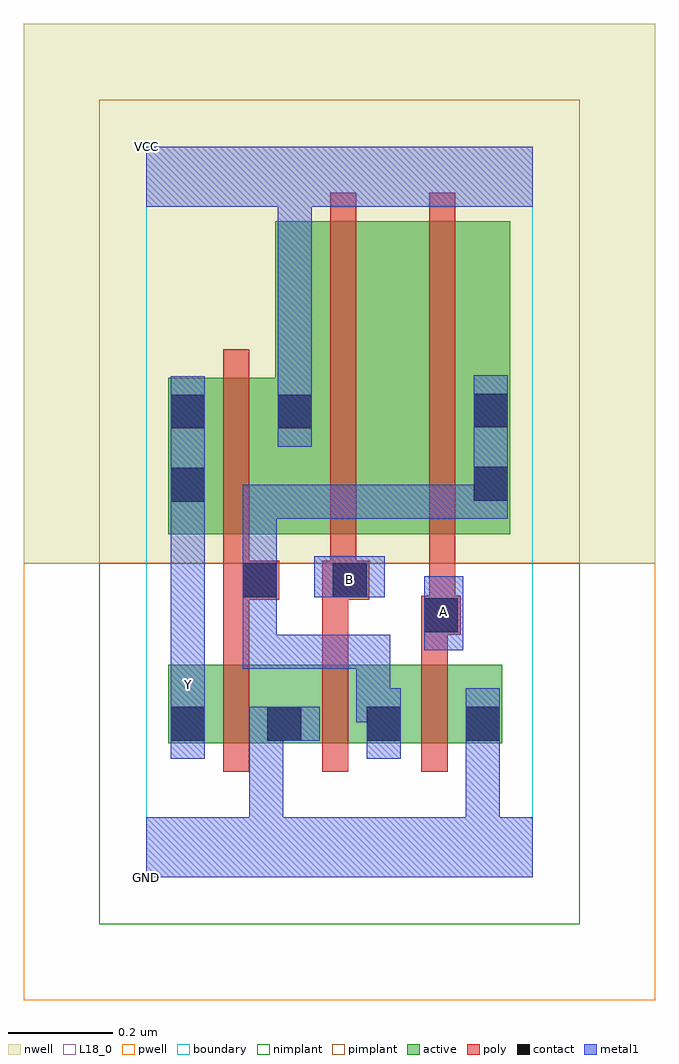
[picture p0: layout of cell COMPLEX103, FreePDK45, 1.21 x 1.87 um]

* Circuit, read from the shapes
.subckt COMPLEX103 A B GND VCC Y
M1 GND n1 Y VSUBS nfet w=0.15u l=0.05u
M2 n1 B GND VSUBS nfet w=0.15u l=0.05u
M3 GND A n1 VSUBS nfet w=0.15u l=0.05u
M4 VCC n1 Y n2 pfet w=0.3u l=0.05u
M5 n3 B VCC n2 pfet w=0.6u l=0.05u
M6 n1 A n3 n2 pfet w=0.6u l=0.05u
.ends

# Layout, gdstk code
import gdstk
lib = gdstk.Library(unit=1e-6, precision=1e-09)
def R(c, l, rs):  # rectangles x0, y0, x1, y1
    for r in rs: c.add(gdstk.rectangle(r[:2], r[2:], *l))
def A(c, l, x, y, w, h, nx, ny, dx, dy):  # array of equal rectangles
    R(c, l, [(x+i*dx, y+j*dy, x+i*dx+w, y+j*dy+h) for i in range(nx) for j in range(ny)])
active = (1, 0)
pwell = (2, 0)
nwell = (3, 0)
nimplant = (4, 0)
pimplant = (5, 0)
poly = (9, 0)
contact = (10, 0)
metal1 = (11, 0)
L18_0 = (18, 0)
boundary = (235, 0)

complex103 = lib.new_cell('COMPLEX103')
R(complex103, active, [(0.042,0.257,0.117,0.407), (0.042,0.257,0.302,0.407), (0.227,0.257,0.492,0.407), (0.227,0.257,0.302,0.397), (0.417,0.257,0.492,0.407), (0.417,0.257,0.682,0.407), (0.607,0.257,0.682,0.407), (0.042,0.657,0.322,0.957), (0.042,0.657,0.117,0.957), (0.247,0.657,0.472,1.257), (0.472,0.657,0.697,1.257), (0.622,0.657,0.697,1.2), (0.247,0.75,0.322,1.145)])
R(complex103, pwell, [(-0.235,-0.235,0.975,0.602)])
R(complex103, nwell, [(-0.235,0.602,0.975,1.635)])
R(complex103, nimplant, [(-0.09,-0.09,0.83,0.602)])
R(complex103, pimplant, [(-0.09,0.602,0.83,1.49)])
A(complex103, poly, 0.147, 0.202, 0.05, 0.26, 3, 1, 0.19, 0)
R(complex103, poly, [(0.147,0.412,0.197,0.582), (0.337,0.412,0.387,0.582), (0.527,0.412,0.577,0.515), (0.527,0.465,0.602,0.54), (0.542,0.49,0.592,0.652), (0.147,0.532,0.255,0.607), (0.337,0.532,0.427,0.607), (0.147,0.557,0.197,0.652), (0.352,0.557,0.402,0.652), (0.147,0.602,0.197,1.012), (0.352,0.602,0.402,1.312), (0.542,0.602,0.592,1.312)])
A(complex103, contact, 0.232, 0.262, 0.065, 0.065, 3, 1, 0.19, 0)
R(complex103, contact, [(0.047,0.262,0.112,0.327), (0.532,0.47,0.597,0.535), (0.185,0.537,0.25,0.602), (0.357,0.537,0.422,0.602), (0.047,0.72,0.112,0.785), (0.627,0.722,0.692,0.787), (0.047,0.86,0.112,0.925), (0.252,0.86,0.317,0.925), (0.627,0.862,0.692,0.927)])
R(complex103, metal1, [(0,0,0.74,0.115), (0.197,0.05,0.262,0.115), (0.197,0.05,0.262,0.115), (0.197,0.05,0.262,0.327), (0.612,0.05,0.677,0.115), (0.612,0.05,0.677,0.115), (0.612,0.05,0.677,0.292), (0.047,0.227,0.112,0.362), (0.422,0.227,0.487,0.362), (0.612,0.227,0.677,0.292), (0.612,0.227,0.677,0.292), (0.612,0.227,0.677,0.362), (0.197,0.262,0.262,0.327), (0.197,0.262,0.262,0.327), (0.197,0.262,0.332,0.327), (0.047,0.297,0.112,0.367), (0.402,0.297,0.487,0.362), (0.402,0.297,0.467,0.465), (0.047,0.302,0.112,0.437), (0.047,0.372,0.112,0.75), (0.185,0.4,0.25,0.465), (0.185,0.4,0.467,0.465), (0.185,0.4,0.25,0.637), (0.532,0.435,0.607,0.577), (0.185,0.502,0.25,0.637), (0.322,0.537,0.457,0.615), (0.185,0.572,0.25,0.637), (0.185,0.572,0.25,0.637), (0.185,0.572,0.25,0.752), (0.047,0.685,0.112,0.96), (0.185,0.687,0.25,0.752), (0.185,0.687,0.387,0.752), (0.322,0.687,0.387,0.752), (0.322,0.687,0.387,0.752), (0.322,0.687,0.387,0.752), (0.322,0.687,0.692,0.752), (0.627,0.687,0.692,0.752), (0.627,0.687,0.692,0.752), (0.627,0.687,0.692,0.962), (0.252,0.825,0.317,0.96), (0.252,0.895,0.317,1.35), (0,1.285,0.74,1.4)])
R(complex103, L18_0, [(0,0,0.74,0.115), (0.197,0.05,0.262,0.115), (0.197,0.05,0.262,0.115), (0.197,0.05,0.262,0.327), (0.612,0.05,0.677,0.115), (0.612,0.05,0.677,0.115), (0.612,0.05,0.677,0.292), (0.047,0.227,0.112,0.362), (0.612,0.227,0.677,0.362), (0.612,0.227,0.677,0.292), (0.612,0.227,0.677,0.292), (0.197,0.262,0.262,0.327), (0.197,0.262,0.262,0.327), (0.197,0.262,0.332,0.327), (0.047,0.297,0.112,0.367), (0.047,0.302,0.112,0.437), (0.047,0.337,0.112,0.402), (0.047,0.372,0.112,0.75), (0.532,0.435,0.607,0.577), (0.537,0.477,0.602,0.542), (0.322,0.537,0.457,0.615), (0.357,0.537,0.422,0.602), (0.047,0.685,0.112,0.96), (0.252,0.825,0.317,0.96), (0.252,0.895,0.317,1.35), (0,1.285,0.74,1.4)])
R(complex103, boundary, [(0,0,0.74,1.4)])
complex103.add(gdstk.Label('A', (0.57,0.51), layer=11, texttype=0))
complex103.add(gdstk.Label('B', (0.39,0.57), layer=11, texttype=0))
complex103.add(gdstk.Label('Y', (0.08,0.37), layer=11, texttype=0))
complex103.add(gdstk.Label('VCC', (0,1.4), layer=11, texttype=0))
complex103.add(gdstk.Label('GND', (0,0), layer=11, texttype=0))

lib.write_gds('COMPLEX103.gds')
